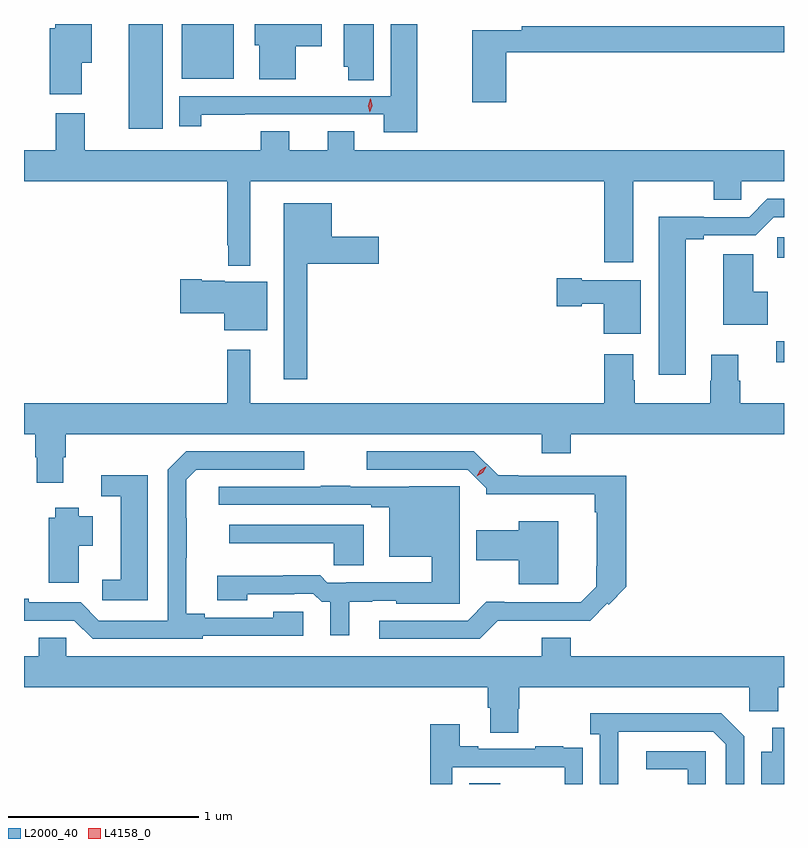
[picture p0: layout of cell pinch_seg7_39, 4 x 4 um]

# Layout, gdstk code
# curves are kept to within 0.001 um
import gdstk
lib = gdstk.Library(unit=1e-6, precision=1e-09)
def R(c, l, rs):  # rectangles x0, y0, x1, y1
    for r in rs: c.add(gdstk.rectangle(r[:2], r[2:], *l))
def P(c, l, *ps):  # polygons
    for p in ps: c.add(gdstk.Polygon(p, *l))
L2000_40 = (2000, 40)
L4158_0 = (4158, 0)

pinch_seg7_39 = lib.new_cell('pinch_seg7_39')
R(pinch_seg7_39, L2000_40, [(1047.104,1044.064,1047.268,1044.068), (1048.719,1046.285,1048.761,1046.395), (1048.725,1046.833,1048.761,1046.942), (1045.313,1047.512,1045.492,1048.064), (1045.592,1047.776,1045.864,1048.064)])
P(pinch_seg7_39, L2000_40, [(1046.191,1047.947),(1046.329,1047.947),(1046.329,1048.064),(1045.976,1048.064),(1045.976,1047.951),(1046,1047.951),(1046,1047.773),(1046.191,1047.773)],
  [(1046.602,1048.064),(1046.444,1048.064),(1046.444,1047.84),(1046.468,1047.84),(1046.468,1047.769),(1046.602,1047.769)],
  [(1045.066,1047.86),(1045.117,1047.86),(1045.117,1048.064),(1044.926,1048.064),(1044.926,1048.041),(1044.896,1048.041),(1044.896,1047.693),(1045.066,1047.693)],
  [(1046.832,1048.064),(1046.69,1048.064),(1046.69,1047.684),(1045.577,1047.684),(1045.577,1047.525),(1045.695,1047.525),(1045.695,1047.587),(1045.922,1047.587),(1045.922,1047.588),(1046.654,1047.588),(1046.654,1047.494),(1046.832,1047.494)],
  [(1047.299,1047.916),(1048.761,1047.916),(1048.761,1048.052),(1047.382,1048.052),(1047.382,1048.032),(1047.121,1048.032),(1047.121,1047.651),(1047.299,1047.651)],
  [(1045.951,1047.236),(1047.815,1047.236),(1047.815,1046.811),(1047.967,1046.811),(1047.967,1047.236),(1048.39,1047.236),(1048.39,1047.138),(1048.536,1047.138),(1048.536,1047.236),(1048.761,1047.236),(1048.761,1047.4),(1046.5,1047.4),(1046.5,1047.499),(1046.36,1047.499),(1046.36,1047.4),(1046.158,1047.4),(1046.158,1047.499),(1046.006,1047.499),(1046.006,1047.4),(1045.081,1047.4),(1045.081,1047.595),(1044.929,1047.595),(1044.929,1047.4),(1044.761,1047.4),(1044.761,1047.236),(1045.83,1047.236),(1045.83,1046.899),(1045.837,1046.899),(1045.837,1046.792),(1045.951,1046.792)],
  [(1048.243,1046.932),(1048.339,1046.932),(1048.339,1046.952),(1048.611,1046.952),(1048.707,1047.048),(1048.761,1047.048),(1048.761,1047.144),(1048.674,1047.144),(1048.578,1047.048),(1048.339,1047.048),(1048.339,1047.05),(1048.103,1047.05),(1048.103,1046.217),(1048.243,1046.217)],
  [(1046.251,1046.801),(1046.629,1046.801),(1046.629,1046.943),(1046.38,1046.943),(1046.38,1047.121),(1046.129,1047.121),(1046.129,1046.193),(1046.251,1046.193)],
  [(1048.675,1046.655),(1048.6,1046.655),(1048.6,1046.851),(1048.442,1046.851),(1048.442,1046.48),(1048.675,1046.48)],
  [(1048.006,1046.716),(1047.696,1046.716),(1047.696,1046.726),(1047.564,1046.726),(1047.564,1046.579),(1047.696,1046.579),(1047.696,1046.591),(1047.812,1046.591),(1047.812,1046.435),(1048.006,1046.435)],
  [(1046.041,1046.707),(1045.818,1046.707),(1045.818,1046.713),(1045.696,1046.713),(1045.696,1046.72),(1045.584,1046.72),(1045.584,1046.542),(1045.814,1046.542),(1045.814,1046.453),(1046.041,1046.453)],
  [(1044.967,1045.785),(1044.98,1045.785),(1044.98,1045.904),(1047.485,1045.904),(1047.485,1045.805),(1047.638,1045.805),(1047.638,1045.904),(1048.761,1045.904),(1048.761,1046.068),(1048.532,1046.068),(1048.532,1046.187),(1048.519,1046.187),(1048.519,1046.323),(1048.379,1046.323),(1048.379,1046.187),(1048.372,1046.187),(1048.372,1046.068),(1047.975,1046.068),(1047.975,1046.189),(1047.967,1046.189),(1047.967,1046.326),(1047.815,1046.326),(1047.815,1046.068),(1045.951,1046.068),(1045.951,1046.35),(1045.83,1046.35),(1045.83,1046.068),(1044.761,1046.068),(1044.761,1045.904),(1044.82,1045.904),(1044.82,1045.785),(1044.827,1045.785),(1044.827,1045.65),(1044.967,1045.65)],
  [(1045.701,1044.843),(1046.23,1044.843),(1046.23,1044.97),(1046.074,1044.97),(1046.074,1044.939),(1045.711,1044.939),(1045.711,1044.959),(1045.615,1044.959),(1045.615,1045.255),(1045.617,1045.255),(1045.617,1045.462),(1045.615,1045.462),(1045.615,1045.666),(1045.668,1045.719),(1046.236,1045.719),(1046.236,1045.815),(1045.614,1045.815),(1045.518,1045.719),(1045.518,1044.924),(1045.155,1044.924),(1045.059,1045.02),(1044.787,1045.02),(1044.787,1045.04),(1044.761,1045.04),(1044.761,1044.923),(1045.026,1044.924),(1045.122,1044.828),(1045.701,1044.828)],
  [(1047.254,1044.923),(1047.741,1044.924),(1047.831,1045.015),(1047.838,1045.007),(1047.932,1045.101),(1047.932,1045.686),(1047.361,1045.686),(1047.361,1045.688),(1047.257,1045.688),(1047.129,1045.815),(1046.565,1045.815),(1046.565,1045.719),(1047.096,1045.719),(1047.195,1045.62),(1047.195,1045.589),(1047.764,1045.589),(1047.764,1045.493),(1047.776,1045.493),(1047.776,1045.21),(1047.774,1045.21),(1047.774,1045.103),(1047.69,1045.02),(1047.289,1045.02),(1047.289,1045.023),(1047.195,1045.023),(1047.096,1044.924),(1046.631,1044.924),(1046.631,1044.828),(1047.159,1044.828)],
  [(1045.411,1045.688),(1045.167,1045.688),(1045.167,1045.578),(1045.271,1045.578),(1045.271,1045.139),(1045.173,1045.139),(1045.173,1045.03),(1045.411,1045.03)],
  [(1046.473,1045.022),(1046.595,1045.022),(1046.595,1045.029),(1046.721,1045.029),(1046.721,1045.013),(1047.055,1045.013),(1047.055,1045.63),(1046.477,1045.629),(1046.477,1045.634),(1046.323,1045.634),(1046.323,1045.629),(1045.785,1045.629),(1045.785,1045.533),(1046.588,1045.533),(1046.588,1045.521),(1046.684,1045.521),(1046.684,1045.259),(1046.908,1045.259),(1046.908,1045.126),(1046.458,1045.126),(1046.458,1045.122),(1046.358,1045.122),(1046.319,1045.162),(1046.125,1045.162),(1046.125,1045.159),(1045.779,1045.159),(1045.779,1045.031),(1045.935,1045.031),(1045.935,1045.062),(1046.183,1045.062),(1046.183,1045.065),(1046.283,1045.065),(1046.327,1045.022),(1046.372,1045.022),(1046.372,1044.846),(1046.473,1044.846)],
  [(1045.048,1045.318),(1045.123,1045.318),(1045.123,1045.473),(1045.048,1045.473),(1045.048,1045.519),(1044.926,1045.519),(1044.926,1045.465),(1044.89,1045.465),(1044.89,1045.122),(1045.048,1045.122)],
  [(1047.574,1045.447),(1047.365,1045.447),(1047.365,1045.399),(1047.14,1045.399),(1047.14,1045.241),(1047.365,1045.241),(1047.365,1045.115),(1047.574,1045.115)],
  [(1046.548,1045.428),(1045.842,1045.428),(1045.842,1045.331),(1046.39,1045.331),(1046.39,1045.215),(1046.548,1045.215)],
  [(1047.363,1044.459),(1047.368,1044.459),(1047.368,1044.572),(1048.578,1044.572),(1048.578,1044.446),(1048.73,1044.446),(1048.73,1044.572),(1048.761,1044.572),(1048.761,1044.736),(1047.638,1044.736),(1047.638,1044.835),(1047.485,1044.835),(1047.485,1044.736),(1044.984,1044.736),(1044.984,1044.834),(1044.838,1044.834),(1044.838,1044.736),(1044.761,1044.736),(1044.761,1044.572),(1047.203,1044.572),(1047.203,1044.466),(1047.215,1044.466),(1047.215,1044.334),(1047.363,1044.334)],
  [(1047.888,1044.139),(1047.889,1044.339),(1048.389,1044.339),(1048.455,1044.273),(1048.455,1044.064),(1048.551,1044.064),(1048.551,1044.315),(1048.43,1044.436),(1047.741,1044.436),(1047.741,1044.326),(1047.792,1044.326),(1047.792,1044.064),(1047.888,1044.064)],
  [(1047.015,1044.153),(1047.606,1044.153),(1047.606,1044.064),(1047.702,1044.064),(1047.702,1044.146),(1047.701,1044.146),(1047.701,1044.255),(1047.599,1044.255),(1047.599,1044.262),(1047.451,1044.262),(1047.451,1044.249),(1047.151,1044.249),(1047.151,1044.262),(1047.055,1044.262),(1047.055,1044.379),(1046.899,1044.379),(1046.899,1044.064),(1047.015,1044.064)],
  [(1048.761,1044.361),(1048.7,1044.361),(1048.7,1044.235),(1048.64,1044.235),(1048.64,1044.064),(1048.761,1044.064)],
  [(1048.35,1044.237),(1048.035,1044.237),(1048.035,1044.141),(1048.254,1044.141),(1048.254,1044.064),(1048.35,1044.064)])
P(pinch_seg7_39, L4158_0, [(1047.144,1045.684),(1047.144,1045.684),(1047.161,1045.716),(1047.192,1045.733),(1047.193,1045.733),(1047.193,1045.733),(1047.176,1045.702),(1047.145,1045.684)],
  [(1046.582,1047.599),(1046.582,1047.599),(1046.573,1047.635),(1046.584,1047.671),(1046.585,1047.671),(1046.585,1047.671),(1046.593,1047.634),(1046.582,1047.599)])

lib.write_gds('pinch_seg7_39.gds')
